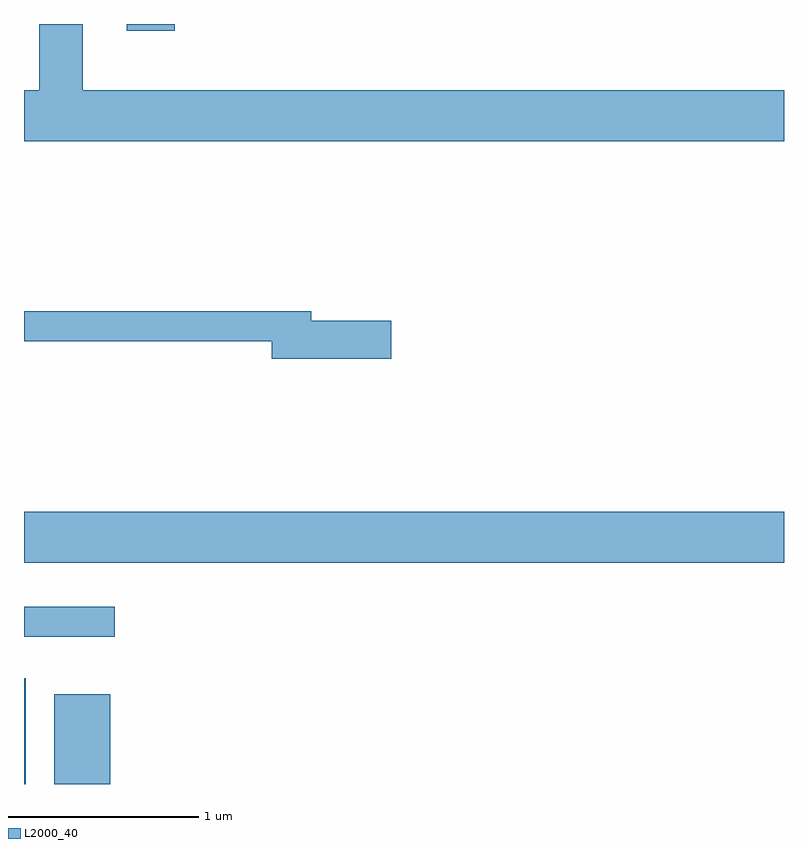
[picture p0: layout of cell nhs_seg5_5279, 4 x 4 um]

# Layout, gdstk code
import gdstk
lib = gdstk.Library(unit=1e-6, precision=1e-09)
def R(c, l, rs):  # rectangles x0, y0, x1, y1
    for r in rs: c.add(gdstk.rectangle(r[:2], r[2:], *l))
def P(c, l, *ps):  # polygons
    for p in ps: c.add(gdstk.Polygon(p, *l))
L2000_40 = (2000, 40)

nhs_seg5_5279 = lib.new_cell('nhs_seg5_5279')
R(nhs_seg5_5279, L2000_40, [(341.611,1460.072,341.619,1460.629), (341.771,1460.072,342.064,1460.544), (341.611,1460.846,342.088,1461.004), (341.611,1461.236,345.611,1461.504), (342.151,1464.036,342.404,1464.072)])
P(nhs_seg5_5279, L2000_40, [(345.611,1463.724),(341.919,1463.724),(341.919,1464.072),(341.691,1464.072),(341.691,1463.724),(341.611,1463.724),(341.611,1463.456),(345.611,1463.456)],
  [(343.544,1462.509),(343.124,1462.509),(343.124,1462.559),(341.611,1462.559),(341.611,1462.401),(342.916,1462.401),(342.916,1462.311),(343.544,1462.311)])

lib.write_gds('nhs_seg5_5279.gds')
